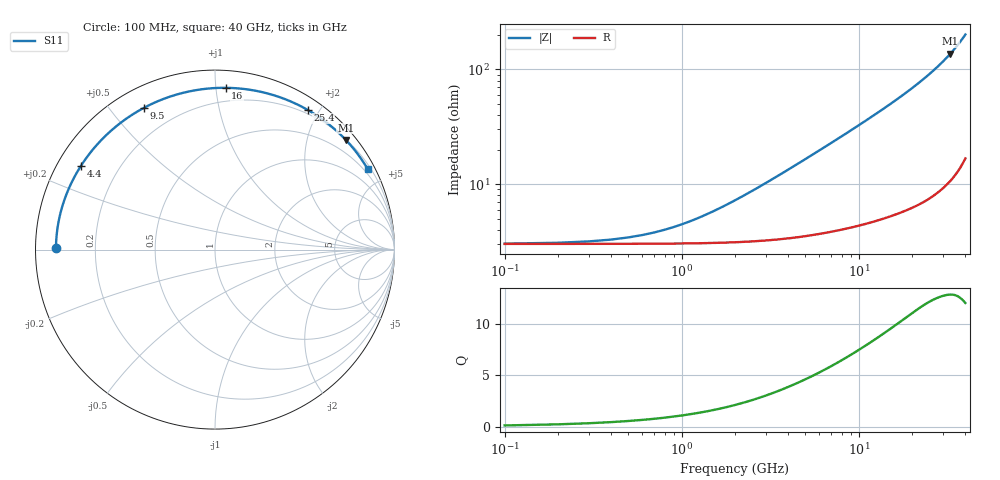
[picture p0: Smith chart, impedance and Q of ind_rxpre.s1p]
#  Hz  S  RI  R  50
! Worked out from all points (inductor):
!   400 points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, 100 MHz to 40 GHz, reference 50 ohm
!   read as one part to ground: L = 516 pH near 3 GHz
!   highest Q = 12.8 at 32.9 GHz (marker M1), where L = 662 pH
!   S11 on the Smith chart (normalised r, x): 100 MHz: 0.06, +0.01; 4.4 GHz: 0.07, +0.29; 9.5 GHz: 0.09, +0.61; 16 GHz: 0.11, +1.06; 25.4 GHz: 0.15, +1.85; 40 GHz: 0.34, +4.02
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1e8  -0.8862 0.0116
1.1e9  -0.8765 0.1272
2.1e9  -0.8515 0.2388
3.2e9  -0.8085 0.3535
4.4e9  -0.747 0.4664
5.1e9  -0.7056 0.5259
6.2e9  -0.6343 0.6094
7.3e9  -0.5576 0.6809
8.4e9  -0.4776 0.7409
9.5e9  -0.3959 0.7898
1.01e10  -0.3512 0.8122
1.13e10  -0.2625 0.8483
1.25e10  -0.1757 0.8741
1.38e10  -0.0849 0.8917
1.51e10  0.00162 0.9002
1.6e10  0.0588 0.9014
1.79e10  0.1716 0.8937
2.01e10  0.2887 0.8711
2.13e10  0.3467 0.8539
2.26e10  0.405 0.8325
2.51e10  0.5046 0.7848
2.54e10  0.5155 0.7787
2.77e10  0.5925 0.7294
3.01e10  0.6613 0.6755
3.29e10  0.729 0.6109
3.51e10  0.7738 0.5598
3.75e10  0.8153 0.5044
4e10  0.8514 0.4478
